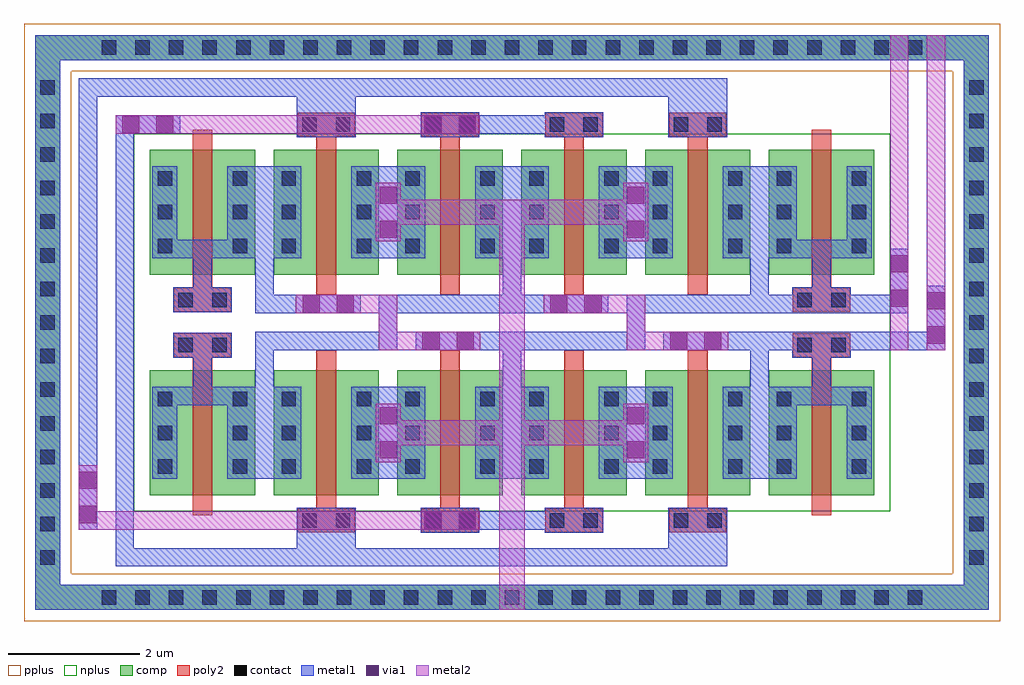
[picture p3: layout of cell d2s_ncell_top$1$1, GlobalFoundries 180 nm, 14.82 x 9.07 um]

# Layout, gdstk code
import gdstk
lib = gdstk.Library(unit=1e-6, precision=5e-09)
def R(c, l, rs):  # rectangles x0, y0, x1, y1
    for r in rs: c.add(gdstk.rectangle(r[:2], r[2:], *l))
def A(c, l, x, y, w, h, nx, ny, dx, dy):  # array of equal rectangles
    R(c, l, [(x+i*dx, y+j*dy, x+i*dx+w, y+j*dy+h) for i in range(nx) for j in range(ny)])
comp = (22, 0)
poly2 = (30, 0)
pplus = (31, 0)
nplus = (32, 0)
contact = (33, 0)
metal1 = (34, 0)
via1 = (35, 0)
metal2 = (36, 0)

d2s_ncell_1_1_1_1_1 = lib.new_cell('d2s_ncell_1$1$1$1$1')
R(d2s_ncell_1_1_1_1_1, comp, [(0,0.3,0.46,2.2), (0.46,0.3,1.14,2.2), (1.14,0.3,1.6,2.2)])
R(d2s_ncell_1_1_1_1_1, poly2, [(0.65,0,0.95,2.5)])
A(d2s_ncell_1_1_1_1_1, contact, 0.12, 0.63, 0.22, 0.22, 1, 3, 0, 0.51)
A(d2s_ncell_1_1_1_1_1, contact, 1.26, 0.63, 0.22, 0.22, 1, 3, 0, 0.51)
R(d2s_ncell_1_1_1_1_1, metal1, [(0.04,0.55,0.42,1.95), (1.18,0.55,1.56,1.95)])

d2s_ncell_4_1_1_1 = lib.new_cell('d2s_ncell_4$1$1$1')
A(d2s_ncell_4_1_1_1, poly2, 2.245, 2.4, 0.87, 0.36, 4, 1, 1.88, 0)
R(d2s_ncell_4_1_1_1, poly2, [(0.365,-0.26,1.235,0.1), (9.765,-0.26,10.635,0.1)])
R(d2s_ncell_4_1_1_1, contact, [(0.435,-0.19,0.655,0.03), (0.945,-0.19,1.165,0.03), (9.835,-0.19,10.055,0.03), (10.345,-0.19,10.565,0.03), (2.315,2.47,2.535,2.69), (2.825,2.47,3.045,2.69), (4.195,2.47,4.415,2.69), (4.705,2.47,4.925,2.69), (6.075,2.47,6.295,2.69), (6.585,2.47,6.805,2.69), (7.955,2.47,8.175,2.69), (8.465,2.47,8.685,2.69)])
A(d2s_ncell_4_1_1_1, metal1, 1.56, 0.55, 0.36, 1.4, 5, 1, 1.88, 0)
R(d2s_ncell_4_1_1_1, metal1, [(0.355,-0.27,1.245,0.11), (9.755,-0.27,10.645,0.11), (2.235,2.39,3.125,3.28), (4.115,2.39,5.005,2.77), (5.995,2.39,6.885,2.77), (7.875,2.39,8.765,3.28)])
R(d2s_ncell_4_1_1_1, via1, [(3.49,0.86,3.75,1.12), (7.25,0.86,7.51,1.12), (3.49,1.38,3.75,1.64), (7.25,1.38,7.51,1.64), (4.17,2.45,4.43,2.71), (4.69,2.45,4.95,2.71)])
R(d2s_ncell_4_1_1_1, metal2, [(3.43,0.805,3.81,1.695), (7.19,0.805,7.57,1.695)])
d2s_ncell_4_1_1_1.add(gdstk.FlexPath([(0.8,0.11),(0.8,0.55)], 0.28, ends="flush", simple_path=True, layer=34, datatype=0))  # metal1
d2s_ncell_4_1_1_1.add(gdstk.FlexPath([(0.42,0.69),(1.18,0.69)], 0.28, ends="flush", simple_path=True, layer=34, datatype=0))  # metal1
d2s_ncell_4_1_1_1.add(gdstk.FlexPath([(9.82,0.69),(10.58,0.69)], 0.28, ends="flush", simple_path=True, layer=34, datatype=0))  # metal1
d2s_ncell_4_1_1_1.add(gdstk.FlexPath([(10.2,0.11),(10.2,0.55)], 0.28, ends="flush", simple_path=True, layer=34, datatype=0))  # metal1
d2s_ncell_4_1_1_1.add(gdstk.FlexPath([(5.995,2.58),(5.005,2.58)], 0.28, ends="flush", simple_path=True, layer=34, datatype=0))  # metal1
d2s_ncell_4_1_1_1.add(gdstk.FlexPath([(8.765,3.14),(2.235,3.14)], 0.28, ends="flush", simple_path=True, layer=34, datatype=0))  # metal1
d2s_ncell_4_1_1_1.add(gdstk.FlexPath([(3.81,1.25),(7.19,1.25)], 0.38, ends="flush", simple_path=True, layer=36, datatype=0))  # metal2
d2s_ncell_4_1_1_1.add(gdstk.Reference(d2s_ncell_1_1_1_1_1, (0,0)))
d2s_ncell_4_1_1_1.add(gdstk.Reference(d2s_ncell_1_1_1_1_1, (1.88,0)))
d2s_ncell_4_1_1_1.add(gdstk.Reference(d2s_ncell_1_1_1_1_1, (3.76,0)))
d2s_ncell_4_1_1_1.add(gdstk.Reference(d2s_ncell_1_1_1_1_1, (5.64,0)))
d2s_ncell_4_1_1_1.add(gdstk.Reference(d2s_ncell_1_1_1_1_1, (7.52,0)))
d2s_ncell_4_1_1_1.add(gdstk.Reference(d2s_ncell_1_1_1_1_1, (9.4,0)))

d2s_ncell_top_1_1 = lib.new_cell('d2s_ncell_top$1$1')
R(d2s_ncell_top_1_1, nplus, [(1.67,1.67,13.15,7.4)])
A(d2s_ncell_top_1_1, contact, 1.18, 0.25, 0.22, 0.22, 25, 2, 0.51, 8.35)
A(d2s_ncell_top_1_1, contact, 0.25, 0.855, 0.22, 0.22, 1, 15, 0, 0.51)
A(d2s_ncell_top_1_1, contact, 14.35, 0.855, 0.22, 0.22, 1, 15, 0, 0.51)
R(d2s_ncell_top_1_1, via1, [(0.84,1.49,1.1,1.75), (0.84,2.01,1.1,2.27), (6.05,4.125,6.31,4.385), (6.57,4.125,6.83,4.385), (9.81,4.125,10.07,4.385), (10.33,4.125,10.59,4.385), (13.72,4.215,13.98,4.475), (4.23,4.685,4.49,4.945), (4.75,4.685,5.01,4.945), (7.99,4.685,8.25,4.945), (8.51,4.685,8.77,4.945), (13.72,4.735,13.98,4.995), (13.16,4.775,13.42,5.035), (13.16,5.295,13.42,5.555), (1.49,7.41,1.75,7.67), (2.01,7.41,2.27,7.67)])
d2s_ncell_top_1_1.add(gdstk.FlexPath([(1.53,7.68),(1.53,1.11)], 0.28, ends="flush", simple_path=True, layer=34, datatype=0))  # metal1
d2s_ncell_top_1_1.add(gdstk.FlexPath([(0.97,8.24),(0.97,1.39)], 0.28, ends="flush", simple_path=True, layer=34, datatype=0))  # metal1
d2s_ncell_top_1_1.add(gdstk.FlexPath([(13.29,5.655),(13.29,4.675)], 0.28, ends="flush", simple_path=True, layer=34, datatype=0))  # metal1
d2s_ncell_top_1_1.add(gdstk.FlexPath([(11.31,4.255),(13.71,4.255)], 0.28, ends="flush", simple_path=True, layer=34, datatype=0))  # metal1
d2s_ncell_top_1_1.add(gdstk.FlexPath([(13.85,5.095),(13.85,4.115)], 0.28, ends="flush", simple_path=True, layer=34, datatype=0))  # metal1
d2s_ncell_top_1_1.add(gdstk.FlexPath([(2.37,7.54),(1.39,7.54)], 0.28, ends="flush", simple_path=True, layer=34, datatype=0))  # metal1
d2s_ncell_top_1_1.add(gdstk.FlexPath([(4.145,8.1),(1.11,8.1)], 0.28, ends="flush", simple_path=True, layer=34, datatype=0))  # metal1
d2s_ncell_top_1_1.add(gdstk.FlexPath([(4.145,0.97),(1.39,0.97)], 0.28, ends="flush", simple_path=True, layer=34, datatype=0))  # metal1
d2s_ncell_top_1_1.add(gdstk.FlexPath([(14.46,8.9),(14.46,0.36),(0.36,0.36),(0.36,8.71),(14.27,8.71)], 0.38, ends="flush", simple_path=True, layer=34, datatype=0))  # metal1
d2s_ncell_top_1_1.add(gdstk.FlexPath([(11.17,5.51),(11.17,4.955)], 0.28, ends="flush", simple_path=True, layer=34, datatype=0))  # metal1
d2s_ncell_top_1_1.add(gdstk.FlexPath([(7.41,5.51),(7.41,4.955)], 0.28, ends="flush", simple_path=True, layer=34, datatype=0))  # metal1
d2s_ncell_top_1_1.add(gdstk.FlexPath([(3.65,5.51),(3.65,4.955)], 0.28, ends="flush", simple_path=True, layer=34, datatype=0))  # metal1
d2s_ncell_top_1_1.add(gdstk.FlexPath([(6.93,4.815),(5.53,4.815),(5.53,4.255),(4.13,4.255)], 0.28, ends="flush", simple_path=True, layer=34, datatype=0))  # metal1
d2s_ncell_top_1_1.add(gdstk.FlexPath([(5.11,4.815),(4.13,4.815)], 0.28, ends="flush", simple_path=True, layer=34, datatype=0))  # metal1
d2s_ncell_top_1_1.add(gdstk.FlexPath([(6.93,4.255),(5.95,4.255)], 0.28, ends="flush", simple_path=True, layer=34, datatype=0))  # metal1
d2s_ncell_top_1_1.add(gdstk.FlexPath([(6.93,4.815),(7.89,4.815)], 0.28, ends="flush", simple_path=True, layer=34, datatype=0))  # metal1
d2s_ncell_top_1_1.add(gdstk.FlexPath([(6.93,4.255),(7.89,4.255)], 0.28, ends="flush", simple_path=True, layer=34, datatype=0))  # metal1
d2s_ncell_top_1_1.add(gdstk.FlexPath([(4.13,4.815),(3.51,4.815)], 0.28, ends="flush", simple_path=True, layer=34, datatype=0))  # metal1
d2s_ncell_top_1_1.add(gdstk.FlexPath([(4.13,4.255),(3.51,4.255)], 0.28, ends="flush", simple_path=True, layer=34, datatype=0))  # metal1
d2s_ncell_top_1_1.add(gdstk.FlexPath([(7.41,5.51),(7.41,4.955)], 0.28, ends="flush", simple_path=True, layer=34, datatype=0))  # metal1
d2s_ncell_top_1_1.add(gdstk.FlexPath([(10.69,4.815),(9.29,4.815),(9.29,4.255),(7.89,4.255)], 0.28, ends="flush", simple_path=True, layer=34, datatype=0))  # metal1
d2s_ncell_top_1_1.add(gdstk.FlexPath([(8.87,4.815),(7.89,4.815)], 0.28, ends="flush", simple_path=True, layer=34, datatype=0))  # metal1
d2s_ncell_top_1_1.add(gdstk.FlexPath([(10.69,4.255),(9.71,4.255)], 0.28, ends="flush", simple_path=True, layer=34, datatype=0))  # metal1
d2s_ncell_top_1_1.add(gdstk.FlexPath([(11.31,4.815),(10.69,4.815)], 0.28, ends="flush", simple_path=True, layer=34, datatype=0))  # metal1
d2s_ncell_top_1_1.add(gdstk.FlexPath([(11.31,4.255),(10.69,4.255)], 0.28, ends="flush", simple_path=True, layer=34, datatype=0))  # metal1
d2s_ncell_top_1_1.add(gdstk.FlexPath([(11.17,4.115),(11.17,3.56)], 0.28, ends="flush", simple_path=True, layer=34, datatype=0))  # metal1
d2s_ncell_top_1_1.add(gdstk.FlexPath([(7.41,4.115),(7.41,3.56)], 0.28, ends="flush", simple_path=True, layer=34, datatype=0))  # metal1
d2s_ncell_top_1_1.add(gdstk.FlexPath([(3.65,4.115),(3.65,3.56)], 0.28, ends="flush", simple_path=True, layer=34, datatype=0))  # metal1
d2s_ncell_top_1_1.add(gdstk.FlexPath([(7.41,4.115),(7.41,3.56)], 0.28, ends="flush", simple_path=True, layer=34, datatype=0))  # metal1
d2s_ncell_top_1_1.add(gdstk.FlexPath([(11.31,4.815),(13.15,4.815)], 0.28, ends="flush", simple_path=True, layer=34, datatype=0))  # metal1
d2s_ncell_top_1_1.add(gdstk.FlexPath([(14.46,8.9),(14.46,0.36),(0.36,0.36),(0.36,8.71),(14.27,8.71)], 0.38, ends="flush", simple_path=True, layer=22, datatype=0))  # comp
d2s_ncell_top_1_1.add(gdstk.FlexPath([(6.92,7.54),(1.39,7.54)], 0.28, ends="flush", simple_path=True, layer=36, datatype=0))  # metal2
d2s_ncell_top_1_1.add(gdstk.FlexPath([(6.92,1.53),(1.11,1.53)], 0.28, ends="flush", simple_path=True, layer=36, datatype=0))  # metal2
d2s_ncell_top_1_1.add(gdstk.FlexPath([(13.85,8.9),(13.85,4.115)], 0.28, ends="flush", simple_path=True, layer=36, datatype=0))  # metal2
d2s_ncell_top_1_1.add(gdstk.FlexPath([(13.29,5.655),(13.29,4.675)], 0.28, ends="flush", simple_path=True, layer=36, datatype=0))  # metal2
d2s_ncell_top_1_1.add(gdstk.FlexPath([(13.85,5.095),(13.85,4.115)], 0.28, ends="flush", simple_path=True, layer=36, datatype=0))  # metal2
d2s_ncell_top_1_1.add(gdstk.FlexPath([(13.29,8.9),(13.29,4.115)], 0.28, ends="flush", simple_path=True, layer=36, datatype=0))  # metal2
d2s_ncell_top_1_1.add(gdstk.FlexPath([(0.97,1.39),(0.97,2.37)], 0.28, ends="flush", simple_path=True, layer=36, datatype=0))  # metal2
d2s_ncell_top_1_1.add(gdstk.FlexPath([(10.69,4.255),(9.29,4.255),(9.29,4.815),(7.89,4.815)], 0.28, ends="flush", simple_path=True, layer=36, datatype=0))  # metal2
d2s_ncell_top_1_1.add(gdstk.FlexPath([(6.93,4.255),(5.53,4.255),(5.53,4.815),(4.13,4.815)], 0.28, ends="flush", simple_path=True, layer=36, datatype=0))  # metal2
d2s_ncell_top_1_1.add(gdstk.FlexPath([(7.41,6.02),(7.41,0.17)], 0.38, ends="flush", simple_path=True, layer=36, datatype=0))  # metal2
d2s_ncell_top_1_1.add(gdstk.FlexPath([(14.46,9.07),(14.46,0.36),(0.36,0.36),(0.36,8.71),(14.26,8.71)], 0.72, ends="flush", simple_path=True, layer=31, datatype=0))  # pplus
d2s_ncell_top_1_1.add(gdstk.Reference(d2s_ncell_4_1_1_1, (1.91,4.96)))
d2s_ncell_top_1_1.add(gdstk.Reference(d2s_ncell_4_1_1_1, (1.91,4.11), x_reflection=True))

lib.write_gds('d2s_ncell_top_1_1.gds')
